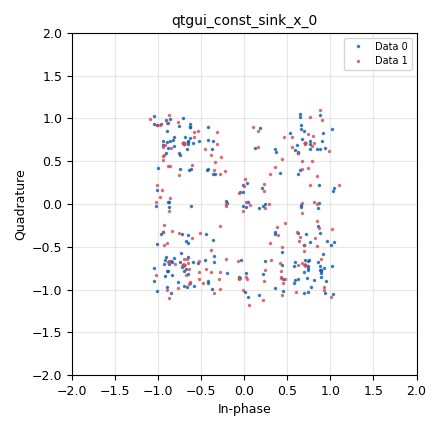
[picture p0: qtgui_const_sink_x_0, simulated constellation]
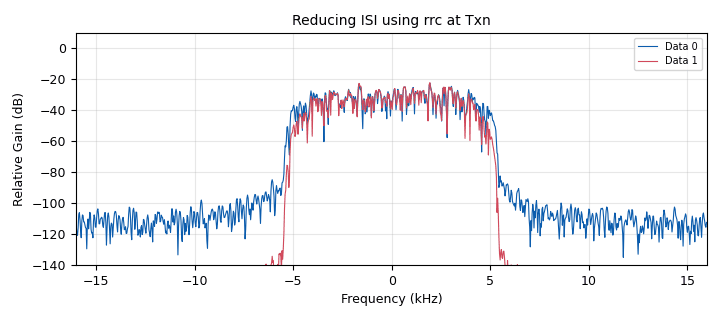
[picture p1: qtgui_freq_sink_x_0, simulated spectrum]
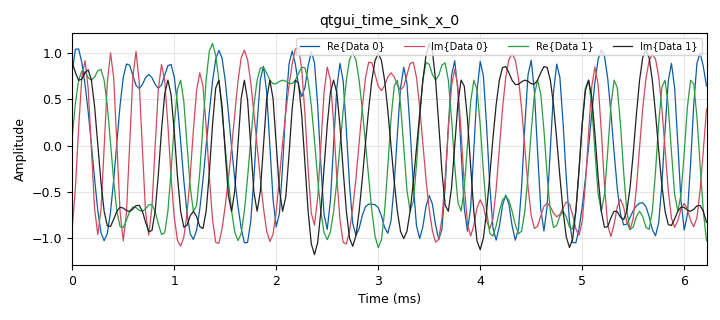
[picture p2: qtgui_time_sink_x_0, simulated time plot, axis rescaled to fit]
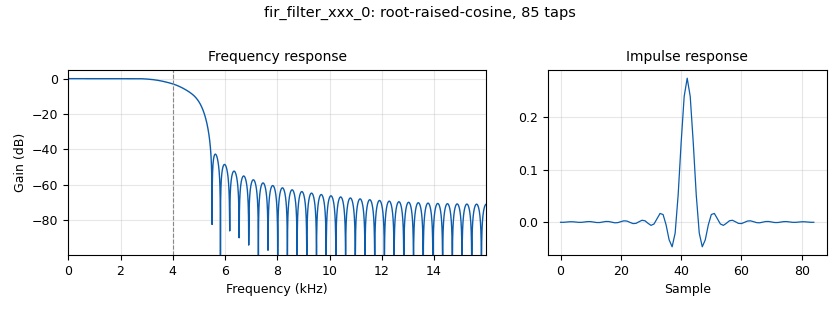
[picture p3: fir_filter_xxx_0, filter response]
options:
  parameters:
    generate_options: qt_gui
    id: Qpsk_stage1_modulator
    output_language: python
    title: Qpsk_stage1_modulator
  states: {}

blocks:
- name: excess_bw
  id: variable
  parameters:
    value: '350e-3'
  states: {}
- name: nfilts
  id: variable
  parameters:
    value: '32'
  states: {}
- name: qpsk
  id: variable_constellation_rect
  parameters:
    const_points: '[-1-1j, -1+1j, 1+1j, 1-1j]'
    imag_sect: '2'
    real_sect: '2'
    rot_sym: '4'
    sym_map: '[0, 1, 3, 2]'
    w_imag_sect: '1'
    w_real_sect: '1'
  states: {}
- name: qpsk1
  id: variable_constellation
  parameters:
    precision: '8'
    type: qpsk
  states: {}
- name: rrc_taps
  id: variable
  parameters:
    value: firdes.root_raised_cosine(1.0,samp_rate,samp_rate/sps,excess_bw,21*sps)
  states: {}
- name: rrc_taps2
  id: variable
  parameters:
    value: firdes.root_raised_cosine(nfilts, nfilts, 1.0/float(sps), 0.35, 11*sps*nfilts)
  states: {}
- name: samp_rate
  id: variable
  parameters:
    value: '32000'
  states: {}
- name: sps
  id: variable
  parameters:
    value: '4'
  states: {}
- name: analog_random_source_x_0
  id: analog_random_source_x
  parameters:
    max: '256'
    min: '0'
    num_samps: '1000'
    repeat: 'True'
    type: byte
  states: {}
- name: blocks_throttle2_0
  id: blocks_throttle2
  parameters:
    samples_per_second: samp_rate
    type: complex
  states: {}
- name: digital_constellation_modulator_0
  id: digital_constellation_modulator
  parameters:
    constellation: qpsk
    differential: 'True'
    excess_bw: excess_bw
    samples_per_symbol: sps
  states: {}
- name: fir_filter_xxx_0
  id: fir_filter_xxx
  parameters:
    decim: '1'
    taps: rrc_taps
    type: ccc
  states: {}
- name: qtgui_const_sink_x_0
  id: qtgui_const_sink_x
  parameters:
    nconnections: '2'
    size: '200'
    type: complex
  states: {}
- name: qtgui_freq_sink_x_0
  id: qtgui_freq_sink_x
  parameters:
    bw: samp_rate
    fc: '0'
    fftsize: '1024'
    name: '"Reducing ISI using rrc at Txn"'
    nconnections: '2'
    type: complex
  states: {}
- name: qtgui_time_sink_x_0
  id: qtgui_time_sink_x
  parameters:
    nconnections: '2'
    size: '200'
    srate: samp_rate
    type: complex
  states: {}

connections:
- [analog_random_source_x_0, '0', digital_constellation_modulator_0, '0']
- [blocks_throttle2_0, '0', fir_filter_xxx_0, '0']
- [blocks_throttle2_0, '0', qtgui_const_sink_x_0, '0']
- [blocks_throttle2_0, '0', qtgui_freq_sink_x_0, '0']
- [blocks_throttle2_0, '0', qtgui_time_sink_x_0, '0']
- [digital_constellation_modulator_0, '0', blocks_throttle2_0, '0']
- [fir_filter_xxx_0, '0', qtgui_const_sink_x_0, '1']
- [fir_filter_xxx_0, '0', qtgui_freq_sink_x_0, '1']
- [fir_filter_xxx_0, '0', qtgui_time_sink_x_0, '1']

metadata:
  file_format: 1
  grc_version: 3.10.11.0
